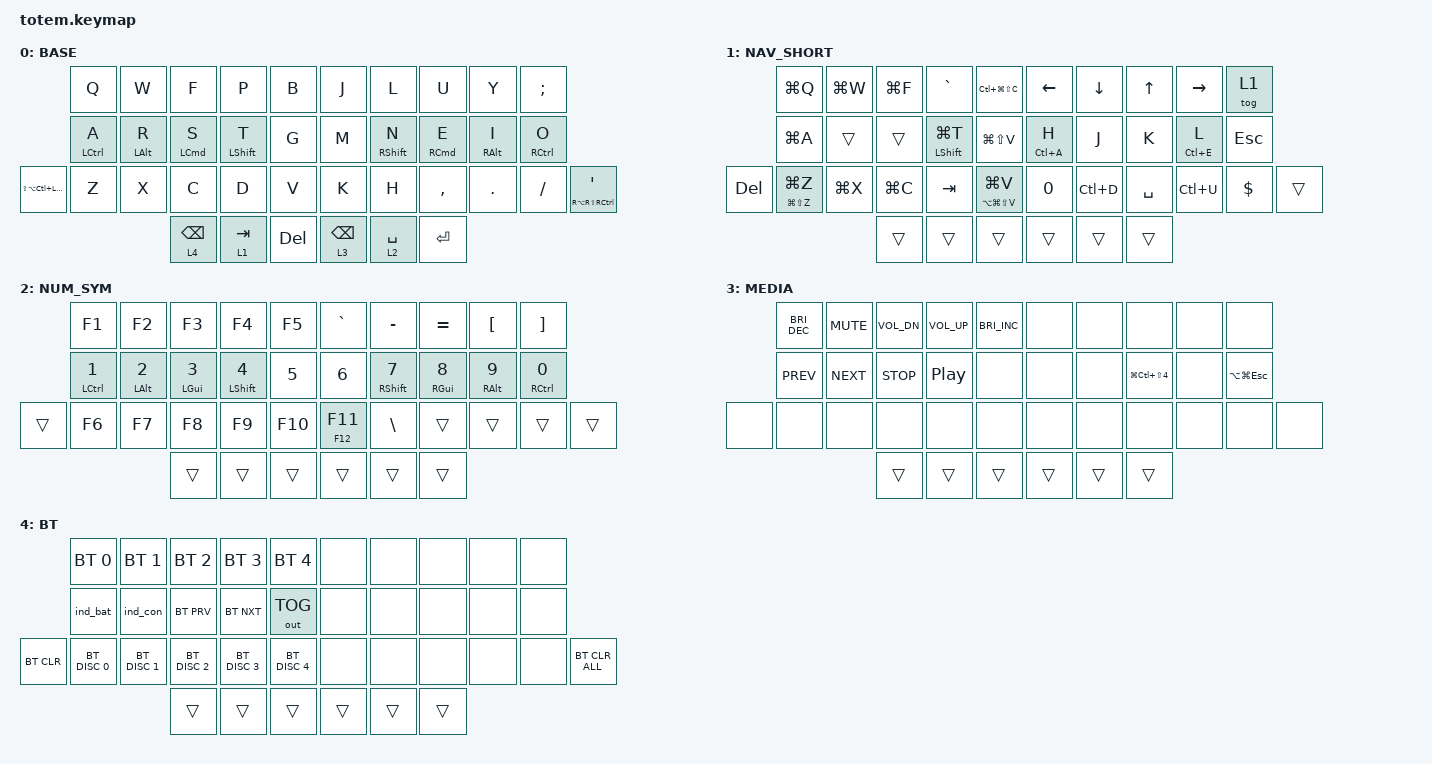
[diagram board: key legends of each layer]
//
//                                                        ▀▀▀▀▀     ▀▀▀▀▀          ▀▀█▀▀
//                                                        ▄▀▀▀▄  ▄  ▄▀▀▀▄  ▄  ▄▀▀▀▄  █  ▄▀▀▀▄
//                                                        █   █  █  █   █  █  █   █  █  █   █
//                                                         ▀▀▀   █   ▀▀▀   █   ▀▀▀   ▀   ▀▀▀
//                                                               █      ▄▄▄█▄▄▄    █   █  
//                                                               ▀      █  █  █     █▄█
//                                                             ▀▀▀▀▀    █  █  █      ▀
//                                                                      ▀  ▀  ▀
//
// ▄▄▄▄▄▄▄▄▄▄▄▄▄▄▄▄▄▄▄▄▄▄▄▄▄▄▄▄▄▄▄▄▄▄▄▄▄▄▄▄▄▄▄▄▄▄▄▄▄▄▄▄▄▄▄▄▄▄▄▄▄▄▄▄▄▄▄▄▄▄▄▄▄▄▄▄▄▄▄▄▄▄▄▄▄▄▄▄▄▄▄▄▄▄▄▄▄▄▄▄▄▄▄▄▄▄▄▄▄▄▄▄▄▄▄▄▄▄▄▄▄▄▄▄▄▄▄▄▄▄▄▄▄▄▄▄▄▄▄▄▄▄▄▄▄▄▄▄▄

#include <behaviors/rgbled_widget.dtsi>
#include <behaviors.dtsi>
#include <dt-bindings/zmk/bt.h>
#include <dt-bindings/zmk/keys.h>
#include <dt-bindings/zmk/outputs.h>

#define BASE 0
#define NAV  1
#define SYM  2
#define ADJ  3
#define TVP1 4
#define TVP2 5

&mt {
    quick-tap-ms = <100>;
    global-quick-tap;
    flavor = "tap-preferred";
    tapping-term-ms = <170>;
};

/ {
    combos {
        compatible = "zmk,combos";

        combo_entr_r {
            bindings = <&kp ENTER>;
            key-positions = <27 28>;
        };

        combo_entr_l {
            bindings = <&kp ENTER>;
            key-positions = <24 23>;
        };

        combo_bksp_r {
            bindings = <&kp BACKSPACE>;
            key-positions = <15 16>;
        };

        combo_del_r {
            bindings = <&kp DELETE>;
            key-positions = <26 27>;
        };

        combo_esc_r {
            bindings = <&kp ESCAPE>;
            key-positions = <6 7>;
        };

        combo_esc_l {
            bindings = <&kp ESCAPE>;
            key-positions = <2 3>;
        };
    };

    keymap {
        compatible = "zmk,keymap";

        // ▄▄▄▄▄▄▄▄▄▄▄▄▄▄▄▄▄▄▄▄▄▄▄▄▄▄▄▄▄▄▄▄▄▄▄▄▄▄▄▄▄▄▄▄▄▄▄▄▄▄▄▄▄▄▄▄▄▄▄▄▄▄▄▄▄▄▄▄▄▄▄▄▄▄▄▄▄▄▄▄▄▄▄▄▄▄▄▄▄▄▄▄▄▄▄▄▄▄▄▄▄▄▄▄▄▄▄▄▄▄▄▄▄▄▄▄▄▄▄▄▄▄▄▄▄▄▄▄▄▄▄▄▄▄▄▄▄▄▄▄▄▄▄▄▄▄▄▄▄

        base_layer {
            // ┏━━━━━━━━━━━━━━━━━━━━━━━━━━━━━━━━━━━━━━━┓

            label = "BASE";

            // ┗━━━━━━━━━━━━━━━━━━━━━━━━━━━━━━━━━━━━━━━┛
            //             ┏━━━━━━━━━━━┳━━━━━━━━━━━┳━━━━━━━━━━━┳━━━━━━━━━━━┳━━━━━━━━━━━┓   ┏━━━━━━━━━━━┳━━━━━━━━━━━┳━━━━━━━━━━━┳━━━━━━━━━━━┳━━━━━━━━━━━┓
            //             ┃     Q     ┃     W     ┃     F     ┃     P     ┃     B     ┃   ┃     J     ┃     L     ┃     U     ┃     Y     ┃     ;     ┃
            //             ┣━━━━━━━━━━━╋━━━━━━━━━━━╋━━━━━━━━━━━╋━━━━━━━━━━━╋━━━━━━━━━━━┫   ┣━━━━━━━━━━━╋━━━━━━━━━━━╋━━━━━━━━━━━╋━━━━━━━━━━━╋━━━━━━━━━━━┫
            //             ┃     A     ┃     R     ┃     S     ┃     T     ┃     G     ┃   ┃     M     ┃     N     ┃     E     ┃     I     ┃     O     ┃
            // ┏━━━━━━━━━━━╋━━━━━━━━━━━╋━━━━━━━━━━━╋━━━━━━━━━━━╋━━━━━━━━━━━╋━━━━━━━━━━━┫   ┣━━━━━━━━━━━╋━━━━━━━━━━━╋━━━━━━━━━━━╋━━━━━━━━━━━╋━━━━━━━━━━━╋━━━━━━━━━━━┓
            // ┃   BSPC    ┃     Z     ┃     X     ┃     C     ┃     D     ┃     V     ┃   ┃     K     ┃     M     ┃     ,     ┃     .     ┃     /     ┃     '     ┃
            // ┗━━━━━━━━━━━┻━━━━━━━━━━━┻━━━━━━━━━━━╋━━━━━━━━━━━╋━━━━━━━━━━━╋━━━━━━━━━━━┫   ┣━━━━━━━━━━━╋━━━━━━━━━━━╋━━━━━━━━━━━╋━━━━━━━━━━━┻━━━━━━━━━━━┻━━━━━━━━━━━┛
            //                                     ┃   BSPC    ┃    TAB    ┃    DEL    ┃   ┃   BSPC    ┃    SPC    ┃   ENTER   ┃
            //                                     ┗━━━━━━━━━━━┻━━━━━━━━━━━┻━━━━━━━━━━━┛   ┗━━━━━━━━━━━┻━━━━━━━━━━━┻━━━━━━━━━━━┛

            bindings = <
                      &kp Q        &kp W       &kp F            &kp P        &kp B         &kp J            &kp L        &kp U       &kp Y       &kp SEMI
                      &mt LCTRL A  &mt LALT R  &mt LCMD S       &mt LSHFT T  &kp G         &kp M            &mt RSHFT N  &mt RCMD E  &mt RALT I  &mt RCTRL O
&kp LS(LA(LC(LCMD)))  &kp Z        &kp X       &kp C            &kp D        &kp V         &kp K            &kp H        &kp COMMA   &kp DOT     &kp FSLH     &mt RA(RS(RIGHT_CONTROL)) SQT
                                               &lt 4 BACKSPACE  &lt 1 TAB    &kp DELETE    &lt 3 BACKSPACE  &lt 2 SPACE  &kp ENTER
            >;
        };

        // ▄▄▄▄▄▄▄▄▄▄▄▄▄▄▄▄▄▄▄▄▄▄▄▄▄▄▄▄▄▄▄▄▄▄▄▄▄▄▄▄▄▄▄▄▄▄▄▄▄▄▄▄▄▄▄▄▄▄▄▄▄▄▄▄▄▄▄▄▄▄▄▄▄▄▄▄▄▄▄▄▄▄▄▄▄▄▄▄▄▄▄▄▄▄▄▄▄▄▄▄▄▄▄▄▄▄▄▄▄▄▄▄▄▄▄▄▄▄▄▄▄▄▄▄▄▄▄▄▄▄▄▄▄▄▄▄▄▄▄▄▄▄▄▄▄▄▄▄▄

        nav_short_layer {
            // ┏━━━━━━━━━━━━━━━━━━━━━━━━━━━━━━━━━━━━━━━┓

            label = "NAV_SHORT";

            // ┗━━━━━━━━━━━━━━━━━━━━━━━━━━━━━━━━━━━━━━━┛
            //             ┏━━━━━━━━━━━┳━━━━━━━━━━━┳━━━━━━━━━━━┳━━━━━━━━━━━┳━━━━━━━━━━━┓   ┏━━━━━━━━━━━┳━━━━━━━━━━━┳━━━━━━━━━━━┳━━━━━━━━━━━┳━━━━━━━━━━━┓
            //             ┃           ┃           ┃     UP    ┃           ┃     {     ┃   ┃     }     ┃     7     ┃     8     ┃     9     ┃     +     ┃
            //             ┣━━━━━━━━━━━╋━━━━━━━━━━━╋━━━━━━━━━━━╋━━━━━━━━━━━╋━━━━━━━━━━━┫   ┣━━━━━━━━━━━╋━━━━━━━━━━━╋━━━━━━━━━━━╋━━━━━━━━━━━╋━━━━━━━━━━━┫
            //             ┃   SHIFT   ┃   LEFT    ┃    DOWN   ┃   RIGHT   ┃     [     ┃   ┃     ]     ┃     4     ┃     5     ┃     6     ┃     -     ┃
            // ┏━━━━━━━━━━━╋━━━━━━━━━━━╋━━━━━━━━━━━╋━━━━━━━━━━━╋━━━━━━━━━━━╋━━━━━━━━━━━┫   ┣━━━━━━━━━━━╋━━━━━━━━━━━╋━━━━━━━━━━━╋━━━━━━━━━━━╋━━━━━━━━━━━╋━━━━━━━━━━━┓
            // ┃           ┃           ┃   P UP    ┃  C LOCK   ┃  P DOWN   ┃     (     ┃   ┃     )     ┃     1     ┃     2     ┃     3     ┃     *     ┃           ┃
            // ┗━━━━━━━━━━━┻━━━━━━━━━━━┻━━━━━━━━━━━╋━━━━━━━━━━━╋━━━━━━━━━━━╋━━━━━━━━━━━┫   ┣━━━━━━━━━━━╋━━━━━━━━━━━╋━━━━━━━━━━━╋━━━━━━━━━━━┻━━━━━━━━━━━┻━━━━━━━━━━━┛
            //                                     ┃           ┃    TAB    ┃    SPC    ┃   ┃    DEL    ┃     0     ┃           ┃
            //                                     ┗━━━━━━━━━━━┻━━━━━━━━━━━┻━━━━━━━━━━━┛   ┗━━━━━━━━━━━┻━━━━━━━━━━━┻━━━━━━━━━━━┛

            bindings = <
            &kp LG(Q)            &kp LG(W)  &kp LG(F)  &kp GRAVE             &kp LC(LG(LS(C)))          &kp LEFT      &kp DOWN_ARROW  &kp UP_ARROW  &kp RIGHT    &tog 1
            &kp LG(A)            &trans     &trans     &mt LEFT_SHIFT LG(T)  &kp LG(LS(V))              &mt LC(A) H   &kp J           &kp K         &mt LC(E) L  &kp ESCAPE
&kp DELETE  &mt LG(LS(Z)) LG(Z)  &kp LG(X)  &kp LG(C)  &kp TAB               &mt LA(LG(LS(V))) LG(V)    &kp NUMBER_0  &kp LC(D)       &kp SPACE     &kp LC(U)    &kp DOLLAR  &trans
                                            &trans     &trans                &trans                     &trans        &trans          &trans
            >;
        };

        // ▄▄▄▄▄▄▄▄▄▄▄▄▄▄▄▄▄▄▄▄▄▄▄▄▄▄▄▄▄▄▄▄▄▄▄▄▄▄▄▄▄▄▄▄▄▄▄▄▄▄▄▄▄▄▄▄▄▄▄▄▄▄▄▄▄▄▄▄▄▄▄▄▄▄▄▄▄▄▄▄▄▄▄▄▄▄▄▄▄▄▄▄▄▄▄▄▄▄▄▄▄▄▄▄▄▄▄▄▄▄▄▄▄▄▄▄▄▄▄▄▄▄▄▄▄▄▄▄▄▄▄▄▄▄▄▄▄▄▄▄▄▄▄▄▄▄▄▄▄

        num_sym_layer {
            // ┏━━━━━━━━━━━━━━━━━━━━━━━━━━━━━━━━━━━━━━━┓

            label = "NUM_SYM";

            // ┗━━━━━━━━━━━━━━━━━━━━━━━━━━━━━━━━━━━━━━━┛
            //             ┏━━━━━━━━━━━┳━━━━━━━━━━━┳━━━━━━━━━━━┳━━━━━━━━━━━┳━━━━━━━━━━━┓   ┏━━━━━━━━━━━┳━━━━━━━━━━━┳━━━━━━━━━━━┳━━━━━━━━━━━┳━━━━━━━━━━━┓
            //             ┃     !     ┃     @     ┃     #     ┃     $     ┃     %     ┃   ┃     ˆ     ┃     &     ┃     Ü     ┃     '     ┃     "     ┃
            //             ┣━━━━━━━━━━━╋━━━━━━━━━━━╋━━━━━━━━━━━╋━━━━━━━━━━━╋━━━━━━━━━━━┫   ┣━━━━━━━━━━━╋━━━━━━━━━━━╋━━━━━━━━━━━╋━━━━━━━━━━━╋━━━━━━━━━━━┫
            //             ┃     Ä     ┃           ┃    SZ     ┃           ┃           ┃   ┃   MUTE    ┃   YEN     ┃   EURO    ┃  POUND    ┃     Ö     ┃
            // ┏━━━━━━━━━━━╋━━━━━━━━━━━╋━━━━━━━━━━━╋━━━━━━━━━━━╋━━━━━━━━━━━╋━━━━━━━━━━━┫   ┣━━━━━━━━━━━╋━━━━━━━━━━━╋━━━━━━━━━━━╋━━━━━━━━━━━╋━━━━━━━━━━━╋━━━━━━━━━━━┓
            // ┃           ┃  EMAIL1   ┃  EMAIL2   ┃           ┃           ┃           ┃   ┃   VOL-    ┃   VOL+    ┃   LAST    ┃   NEXT    ┃     \     ┃           ┃
            // ┗━━━━━━━━━━━┻━━━━━━━━━━━┻━━━━━━━━━━━╋━━━━━━━━━━━╋━━━━━━━━━━━╋━━━━━━━━━━━┫   ┣━━━━━━━━━━━╋━━━━━━━━━━━╋━━━━━━━━━━━╋━━━━━━━━━━━┻━━━━━━━━━━━┻━━━━━━━━━━━┛
            //                                     ┃           ┃    GIF    ┃    ADJ    ┃   ┃           ┃           ┃           ┃
            //                                     ┗━━━━━━━━━━━┻━━━━━━━━━━━┻━━━━━━━━━━━┛   ┗━━━━━━━━━━━┻━━━━━━━━━━━┻━━━━━━━━━━━┛

            bindings = <
        &kp F1              &kp F2                 &kp F3             &kp F4                   &kp F5          &kp GRAVE     &kp MINUS                 &kp EQUAL          &kp LEFT_BRACKET        &kp RIGHT_BRACKET
        &mt LCTRL NUMBER_1  &mt LEFT_ALT NUMBER_2  &mt LGUI NUMBER_3  &mt LEFT_SHIFT NUMBER_4  &kp NUMBER_5    &kp NUMBER_6  &mt RIGHT_SHIFT NUMBER_7  &mt RGUI NUMBER_8  &mt RIGHT_ALT NUMBER_9  &mt RCTRL NUMBER_0
&trans  &kp F6              &kp F7                 &kp F8             &kp F9                   &kp F10         &mt F12 F11   &kp BACKSLASH             &trans             &trans                  &trans              &trans
                                                   &trans             &trans                   &trans          &trans        &trans                    &trans
            >;
        };

        // ▄▄▄▄▄▄▄▄▄▄▄▄▄▄▄▄▄▄▄▄▄▄▄▄▄▄▄▄▄▄▄▄▄▄▄▄▄▄▄▄▄▄▄▄▄▄▄▄▄▄▄▄▄▄▄▄▄▄▄▄▄▄▄▄▄▄▄▄▄▄▄▄▄▄▄▄▄▄▄▄▄▄▄▄▄▄▄▄▄▄▄▄▄▄▄▄▄▄▄▄▄▄▄▄▄▄▄▄▄▄▄▄▄▄▄▄▄▄▄▄▄▄▄▄▄▄▄▄▄▄▄▄▄▄▄▄▄▄▄▄▄▄▄▄▄▄▄▄▄

        media_layer {
            // ┏━━━━━━━━━━━━━━━━━━━━━━━━━━━━━━━━━━━━━━━┓

            label = "MEDIA";

            // ┗━━━━━━━━━━━━━━━━━━━━━━━━━━━━━━━━━━━━━━━┛
            //             ┏━━━━━━━━━━━┳━━━━━━━━━━━┳━━━━━━━━━━━┳━━━━━━━━━━━┳━━━━━━━━━━━┓   ┏━━━━━━━━━━━┳━━━━━━━━━━━┳━━━━━━━━━━━┳━━━━━━━━━━━┳━━━━━━━━━━━┓
            //             ┃   RESET   ┃ BT CLEAR  ┃  OUT TOG  ┃           ┃           ┃   ┃           ┃    F7     ┃    F8     ┃    F9     ┃    F12    ┃
            //             ┣━━━━━━━━━━━╋━━━━━━━━━━━╋━━━━━━━━━━━╋━━━━━━━━━━━╋━━━━━━━━━━━┫   ┣━━━━━━━━━━━╋━━━━━━━━━━━╋━━━━━━━━━━━╋━━━━━━━━━━━╋━━━━━━━━━━━┫
            //             ┃ BOOTLOAD  ┃ BT NEXT   ┃           ┃           ┃           ┃   ┃           ┃    F4     ┃    F5     ┃    F6     ┃    F11    ┃
            // ┏━━━━━━━━━━━╋━━━━━━━━━━━╋━━━━━━━━━━━╋━━━━━━━━━━━╋━━━━━━━━━━━╋━━━━━━━━━━━┫   ┣━━━━━━━━━━━╋━━━━━━━━━━━╋━━━━━━━━━━━╋━━━━━━━━━━━╋━━━━━━━━━━━╋━━━━━━━━━━━┓
            // ┃           ┃           ┃ BT PREV   ┃           ┃           ┃           ┃   ┃           ┃    F1     ┃    F2     ┃    F3     ┃    F10    ┃           ┃
            // ┗━━━━━━━━━━━┻━━━━━━━━━━━┻━━━━━━━━━━━╋━━━━━━━━━━━╋━━━━━━━━━━━╋━━━━━━━━━━━┫   ┣━━━━━━━━━━━╋━━━━━━━━━━━╋━━━━━━━━━━━╋━━━━━━━━━━━┻━━━━━━━━━━━┻━━━━━━━━━━━┛
            //                                     ┃           ┃           ┃           ┃   ┃           ┃           ┃           ┃
            //                                     ┗━━━━━━━━━━━┻━━━━━━━━━━━┻━━━━━━━━━━━┛   ┗━━━━━━━━━━━┻━━━━━━━━━━━┻━━━━━━━━━━━┛

            bindings = <
       &kp C_BRIGHTNESS_DEC  &kp C_MUTE  &kp C_VOL_DN  &kp C_VOL_UP      &kp C_BRIGHTNESS_INC    &none   &none   &none                     &none  &none
       &kp C_PREV            &kp C_NEXT  &kp C_STOP    &kp C_PLAY_PAUSE  &none                   &none   &none   &kp LG(LC(LS(NUMBER_4)))  &none  &kp LA(LG(ESCAPE))
&none  &none                 &none       &none         &none             &none                   &none   &none   &none                     &none  &none               &none
                                         &trans        &trans            &trans                  &trans  &trans  &trans
            >;
        };

        // ▄▄▄▄▄▄▄▄▄▄▄▄▄▄▄▄▄▄▄▄▄▄▄▄▄▄▄▄▄▄▄▄▄▄▄▄▄▄▄▄▄▄▄▄▄▄▄▄▄▄▄▄▄▄▄▄▄▄▄▄▄▄▄▄▄▄▄▄▄▄▄▄▄▄▄▄▄▄▄▄▄▄▄▄▄▄▄▄▄▄▄▄▄▄▄▄▄▄▄▄▄▄▄▄▄▄▄▄▄▄▄▄▄▄▄▄▄▄▄▄▄▄▄▄▄▄▄▄▄▄▄▄▄▄▄▄▄▄▄▄▄▄▄▄▄▄▄▄▄
        // ▄▄▄▄▄▄▄▄▄▄▄▄▄▄▄▄▄▄▄▄▄▄▄▄▄▄▄▄▄▄▄▄▄▄▄▄▄▄▄▄▄▄▄▄▄▄▄▄▄▄▄▄▄▄▄▄▄▄▄▄▄▄▄▄▄▄▄▄▄▄▄▄▄▄▄▄▄▄▄▄▄▄▄▄▄▄▄▄▄▄▄▄▄▄▄▄▄▄▄▄▄▄▄▄▄▄▄▄▄▄▄▄▄▄▄▄▄▄▄▄▄▄▄▄▄▄▄▄▄▄▄▄▄▄▄▄▄▄▄▄▄▄▄▄▄▄▄▄▄

        bt_layer {
            bindings = <
            &bt BT_SEL 0   &bt BT_SEL 1   &bt BT_SEL 2   &bt BT_SEL 3   &bt BT_SEL 4     &none   &none   &none   &none  &none
            &ind_bat       &ind_con       &bt BT_PRV     &bt BT_NXT     &out OUT_TOG     &none   &none   &none   &none  &none
&bt BT_CLR  &bt BT_DISC 0  &bt BT_DISC 1  &bt BT_DISC 2  &bt BT_DISC 3  &bt BT_DISC 4    &none   &none   &none   &none  &none  &bt BT_CLR_ALL
                                          &trans         &trans         &trans           &trans  &trans  &trans
            >;

            label = "BT";
        };
    };
};
